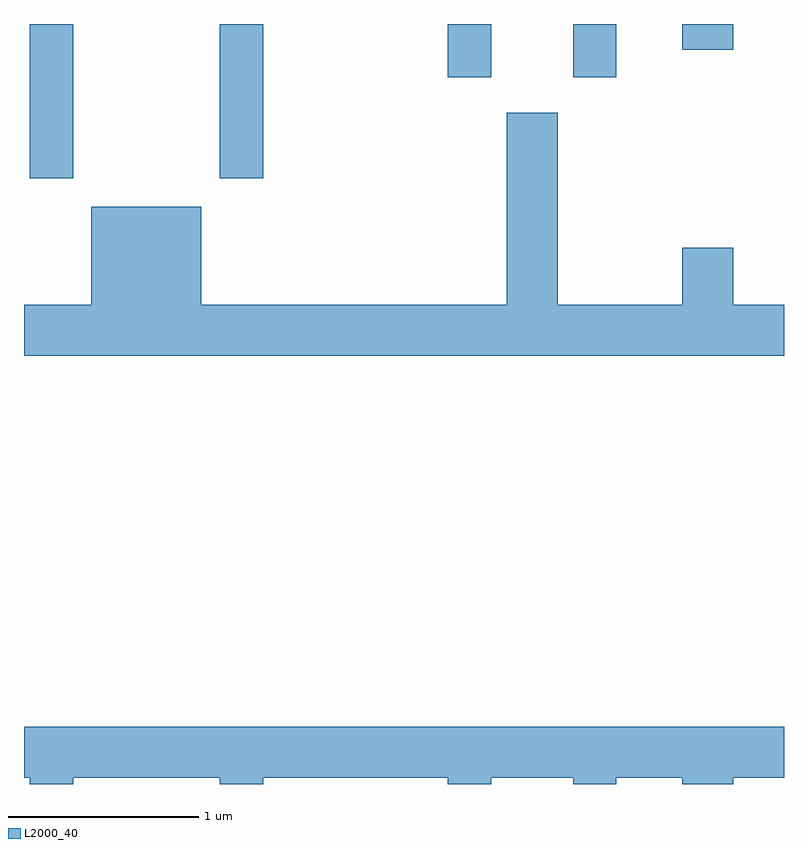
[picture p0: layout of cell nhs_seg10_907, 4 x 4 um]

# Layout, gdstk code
import gdstk
lib = gdstk.Library(unit=1e-6, precision=1e-09)
def R(c, l, rs):  # rectangles x0, y0, x1, y1
    for r in rs: c.add(gdstk.rectangle(r[:2], r[2:], *l))
def P(c, l, *ps):  # polygons
    for p in ps: c.add(gdstk.Polygon(p, *l))
L2000_40 = (2000, 40)

nhs_seg10_907 = lib.new_cell('nhs_seg10_907')
R(nhs_seg10_907, L2000_40, [(211.641,2143.711,211.869,2144.522), (212.641,2143.711,212.869,2144.522), (213.841,2144.241,214.069,2144.522), (214.501,2144.241,214.729,2144.522), (215.076,2144.386,215.344,2144.522)])
P(nhs_seg10_907, L2000_40, [(215.611,2143.044),(215.344,2143.044),(215.344,2143.344),(215.076,2143.344),(215.076,2143.044),(214.419,2143.044),(214.419,2144.054),(214.151,2144.054),(214.151,2143.044),(212.544,2143.044),(212.544,2143.559),(211.966,2143.559),(211.966,2143.044),(211.611,2143.044),(211.611,2142.776),(215.611,2142.776)],
  [(211.869,2140.556),(212.641,2140.556),(212.641,2140.522),(212.869,2140.522),(212.869,2140.556),(213.841,2140.556),(213.841,2140.522),(214.069,2140.522),(214.069,2140.556),(214.501,2140.556),(214.501,2140.522),(214.729,2140.522),(214.729,2140.556),(215.076,2140.556),(215.076,2140.522),(215.344,2140.522),(215.344,2140.556),(215.611,2140.556),(215.611,2140.824),(211.611,2140.824),(211.611,2140.556),(211.641,2140.556),(211.641,2140.522),(211.869,2140.522)])

lib.write_gds('nhs_seg10_907.gds')
